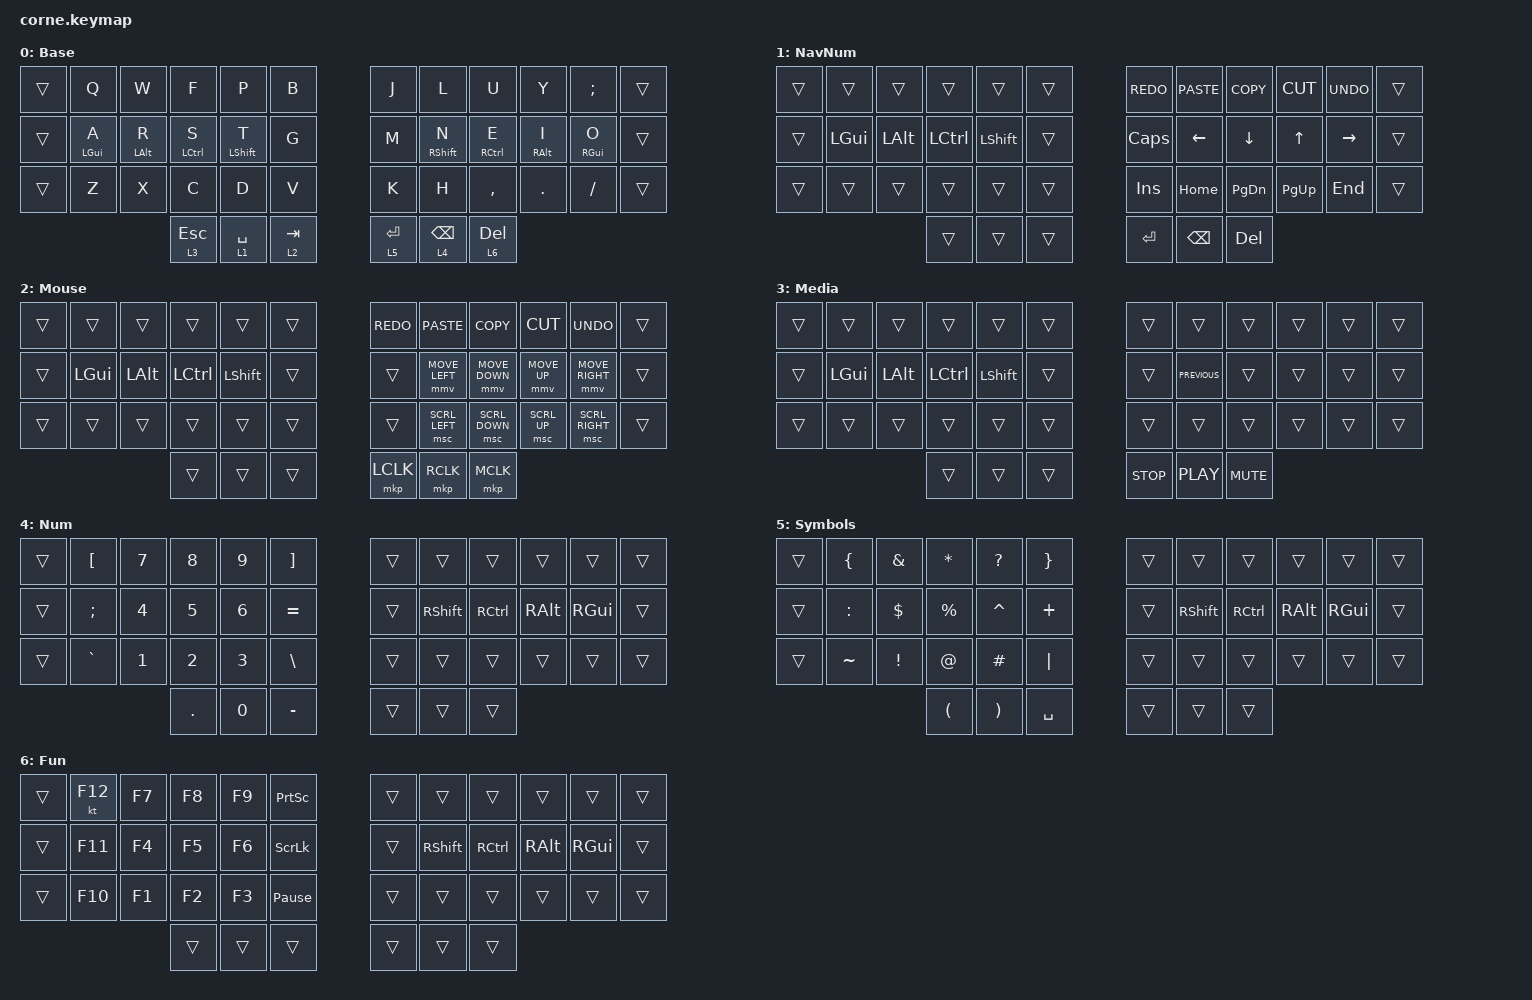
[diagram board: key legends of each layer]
#include <behaviors.dtsi>
#include <dt-bindings/zmk/keys.h>
#include <dt-bindings/zmk/pointing.h>

#define DEF 0
#define NAV 1
#define SYM 2
#define ADJ 3
#define EXTRA 4

/ {
    behaviors {
        hm: homerow_mods {
            compatible = "zmk,behavior-hold-tap";
            #binding-cells = <2>;
            tapping-term-ms = <200>;
            flavor = "tap-preferred";
            bindings = <&kp>, <&kp>;

            quick-tap-ms = <180>;
            require-prior-idle-ms = <120>; /* tune to taste */
        };

        para: para {
            compatible = "zmk,behavior-tap-dance";
            #binding-cells = <0>;
            bindings = <&kp LEFT_PARENTHESIS>, <&kp RIGHT_PARENTHESIS>;
        };

        caps: caps {
            compatible = "zmk,behavior-caps-word";
            #binding-cells = <0>;
            continue-list = <MINUS BACKSPACE>;
        };

        paraless: paraless {
            compatible = "zmk,behavior-mod-morph";
            bindings = <&kp LEFT_PARENTHESIS>, <&kp LESS_THAN>;

            #binding-cells = <0>;
            mods = <(MOD_LSFT)>;
        };

        paragreat: paragreat {
            compatible = "zmk,behavior-mod-morph";
            bindings = <&kp RIGHT_PARENTHESIS>, <&kp GREATER_THAN>;

            #binding-cells = <0>;
            mods = <(MOD_LSFT)>;
        };

        matt_mod_tap: matt_mod_tap {
            compatible = "zmk,behavior-hold-tap";
            label = "MATT_MOD_TAP";
            bindings = <&kp>, <&kp>;

            #binding-cells = <2>;
            flavor = "tap-preferred";
            tapping-term-ms = <220>;
            require-prior-idle-ms = <125>;
            quick-tap-ms = <175>;
        };
    };

    macros {
        browsertab: browsertab {
            compatible = "zmk,behavior-macro";
            #binding-cells = <0>;
            bindings =
                <&macro_press>,
                <&kp LCTRL>,
                <&macro_tap>,
                <&kp TAB>,
                <&macro_release>,
                <&kp LCTRL>;
        };
    };

    combos {
        compatible = "zmk,combos";

        escape {
            bindings = <&kp ESCAPE>;
            key-positions = <13 29>;
        };

        delete {
            bindings = <&kp DELETE>;
            key-positions = <15 21>;
        };

        perc {
            bindings = <&kp PERCENT>;
            key-positions = <5 17>;
            layers = <0>;
        };

        equal {
            bindings = <&kp EQUAL>;
            key-positions = <28 16>;
            layers = <0>;
        };

        dollar {
            bindings = <&kp DOLLAR>;
            key-positions = <4 16>;
            layers = <0>;
        };

        pound {
            bindings = <&kp POUND>;
            key-positions = <3 15>;
            layers = <0>;
        };

        at {
            bindings = <&kp AT>;
            key-positions = <2 14>;
            layers = <0>;
        };

        backslash {
            bindings = <&kp BACKSLASH>;
            key-positions = <26 14>;
            layers = <0>;
        };

        star {
            bindings = <&kp STAR>;
            key-positions = <8 20>;
            layers = <0>;
        };

        slash {
            bindings = <&kp SLASH>;
            key-positions = <32 20>;
            layers = <0>;
        };

        plus {
            bindings = <&kp PLUS>;
            key-positions = <7 19>;
            layers = <0>;
        };

        minus {
            bindings = <&kp KP_MINUS>;
            key-positions = <31 19>;
            layers = <0>;
        };

        underscore {
            bindings = <&kp UNDER>;
            key-positions = <30 18>;
            layers = <0>;
        };

        leftbrack {
            bindings = <&kp LEFT_BRACKET>;
            key-positions = <31 32>;
            layers = <0>;
        };

        rightbrack {
            bindings = <&kp RIGHT_BRACKET>;
            key-positions = <33 32>;
            layers = <0>;
        };

        para-less {
            bindings = <&paraless>;
            key-positions = <20 19>;
            layers = <0>;
        };

        para-great {
            bindings = <&paragreat>;
            key-positions = <20 21>;
            layers = <0>;
        };
    };

    //

    keymap {
        compatible = "zmk,keymap";

        DEF {
            display-name = "Base";

            // -----------------------------------------------------------------------------------------
            // |  Q  |  W  |  E  |  R  |  T  |   |  Y  |  U   |  I  |  O  |  P  |
            // |  A  |  S  |  D  |  F  |  G  |   |  H  |  J   |  K  |  L  |  ;  |
            // |  Z  |  X  |  C  |  V  |  B  |   |  N  |  M   |  ,  |  .  |  /  |
            // | GUI | CTRL | SHFT | LWR | SPC |   | ENT | RSE  | BKSP | ALT | ESC |

            bindings = <
&trans  &kp Q                 &kp W                 &kp F                  &kp P                       &kp B        &kp J        &kp L                        &kp U                  &kp Y                      &kp SEMICOLON              &trans
&trans  &matt_mod_tap LGUI A  &matt_mod_tap LALT R  &matt_mod_tap LCTRL S  &matt_mod_tap LEFT_SHIFT T  &kp G        &kp M        &matt_mod_tap RIGHT_SHIFT N  &matt_mod_tap RCTRL E  &matt_mod_tap RIGHT_ALT I  &matt_mod_tap RIGHT_GUI O  &trans
&trans  &kp Z                 &kp X                 &kp C                  &kp D                       &kp V        &kp K        &kp H                        &kp COMMA              &kp DOT                    &kp FSLH                   &trans
                                                    &lt 3 ESC              &lt 1 SPACE                 &lt 2 TAB    &lt 5 ENTER  &lt 4 BACKSPACE              &lt 6 DELETE
            >;
        };

        NAV {
            display-name = "NavNum";

            // -----------------------------------------------------------------------------------------
            // |  TAB |  1  |  2  |  3  |  4  |  5  |   |  6  |  7  |  8  |  9  |  0  | BKSP |
            // | BTCLR| BT1 | BT2 | BT3 | BT4 | BT5 |   | LFT | DWN |  UP | RGT |     |      |
            // | SHFT |     |     |     |     |     |   |     |     |     |     |     |      |
            // | GUI | CTRL | SHFT | LWR | SPC |   | ENT | RSE  | BKSP | ALT | ESC |

            bindings = <
&trans  &trans        &trans        &trans     &trans          &trans    &kp K_REDO    &kp K_PASTE    &kp K_COPY     &kp K_CUT     &kp K_UNDO  &trans
&trans  &kp LEFT_GUI  &kp LEFT_ALT  &kp LCTRL  &kp LEFT_SHIFT  &trans    &kp CAPSLOCK  &kp LEFT       &kp DOWN       &kp UP_ARROW  &kp RIGHT   &trans
&trans  &trans        &trans        &trans     &trans          &trans    &kp INSERT    &kp HOME       &kp PAGE_DOWN  &kp PAGE_UP   &kp END     &trans
                                    &trans     &trans          &trans    &kp RET       &kp BACKSPACE  &kp DELETE
            >;
        };

        Mouse {
            bindings = <
&trans  &trans    &trans        &trans     &trans          &trans    &kp K_REDO  &kp K_PASTE     &kp K_COPY      &kp K_CUT     &kp K_UNDO       &trans
&trans  &kp LGUI  &kp LEFT_ALT  &kp LCTRL  &kp LEFT_SHIFT  &trans    &trans      &mmv MOVE_LEFT  &mmv MOVE_DOWN  &mmv MOVE_UP  &mmv MOVE_RIGHT  &trans
&trans  &trans    &trans        &trans     &trans          &trans    &trans      &msc SCRL_LEFT  &msc SCRL_DOWN  &msc SCRL_UP  &msc SCRL_RIGHT  &trans
                                &trans     &trans          &trans    &mkp LCLK   &mkp RCLK       &mkp MCLK
            >;
        };

        Media {
            bindings = <
&trans  &trans    &trans        &trans     &trans          &trans    &trans      &trans          &trans      &trans  &trans  &trans
&trans  &kp LGUI  &kp LEFT_ALT  &kp LCTRL  &kp LEFT_SHIFT  &trans    &trans      &kp K_PREVIOUS  &trans      &trans  &trans  &trans
&trans  &trans    &trans        &trans     &trans          &trans    &trans      &trans          &trans      &trans  &trans  &trans
                                &trans     &trans          &trans    &kp K_STOP  &kp C_PLAY      &kp K_MUTE
            >;
        };

        Num {
            bindings = <
&trans  &kp LEFT_BRACKET  &kp N7        &kp N8        &kp N9        &kp RIGHT_BRACKET    &trans  &trans           &trans     &trans         &trans         &trans
&trans  &kp SEMI          &kp NUMBER_4  &kp N5        &kp NUMBER_6  &kp EQUAL            &trans  &kp RIGHT_SHIFT  &kp RCTRL  &kp RIGHT_ALT  &kp RIGHT_GUI  &trans
&trans  &kp GRAVE         &kp NUMBER_1  &kp NUMBER_2  &kp NUMBER_3  &kp BACKSLASH        &trans  &trans           &trans     &trans         &trans         &trans
                                        &kp PERIOD    &kp N0        &kp MINUS            &trans  &trans           &trans
            >;
        };

        SYM {
            display-name = "Symbols";

            // -----------------------------------------------------------------------------------------
            // |  TAB |  !  |  @  |  #  |  $  |  %  |   |  ^  |  &  |  *  |  (  |  )  | BKSP |
            // | CTRL |     |     |     |     |     |   |  -  |  =  |  [  |  ]  |  \  |  `   |
            // | SHFT |     |     |     |     |     |   |  _  |  +  |  {  |  }  | "|" |  ~   |
            //                    | GUI |     | SPC |   | ENT |     | ALT |

            bindings = <
&trans  &kp LEFT_BRACE  &kp AMPERSAND    &kp ASTERISK          &kp QUESTION           &kp RIGHT_BRACE    &trans  &trans           &trans     &trans         &trans         &trans
&trans  &kp COLON       &kp DOLLAR       &kp PERCENT           &kp CARET              &kp PLUS           &trans  &kp RIGHT_SHIFT  &kp RCTRL  &kp RIGHT_ALT  &kp RIGHT_GUI  &trans
&trans  &kp TILDE       &kp EXCLAMATION  &kp AT_SIGN           &kp HASH               &kp PIPE           &trans  &trans           &trans     &trans         &trans         &trans
                                         &kp LEFT_PARENTHESIS  &kp RIGHT_PARENTHESIS  &kp SPACE          &trans  &trans           &trans
            >;
        };

        Fun {
            bindings = <
&trans  &kt F12  &kp F7  &kp F8  &kp F9  &kp PRINTSCREEN    &trans  &trans           &trans     &trans         &trans         &trans
&trans  &kp F11  &kp F4  &kp F5  &kp F6  &kp SCROLLLOCK     &trans  &kp RIGHT_SHIFT  &kp RCTRL  &kp RIGHT_ALT  &kp RIGHT_GUI  &trans
&trans  &kp F10  &kp F1  &kp F2  &kp F3  &kp PAUSE_BREAK    &trans  &trans           &trans     &trans         &trans         &trans
                         &trans  &trans  &trans             &trans  &trans           &trans
            >;
        };
    };
};
